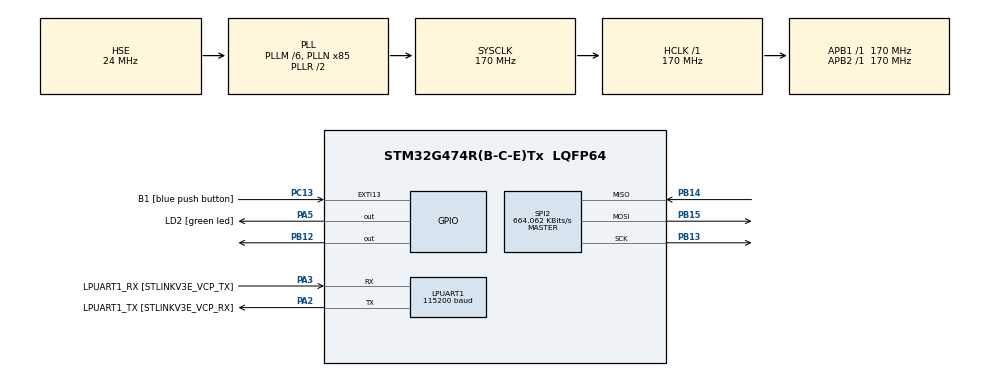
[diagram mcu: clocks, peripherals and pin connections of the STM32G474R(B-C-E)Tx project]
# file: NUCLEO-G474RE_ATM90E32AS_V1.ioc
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Dma.Request0=SPI2_RX
Dma.Request1=SPI2_TX
Dma.SPI2_RX.0.Direction=DMA_PERIPH_TO_MEMORY
Dma.SPI2_RX.0.EventEnable=DISABLE
Dma.SPI2_RX.0.Instance=DMA1_Channel1
Dma.SPI2_RX.0.MemDataAlignment=DMA_MDATAALIGN_BYTE
Dma.SPI2_RX.0.MemInc=DMA_MINC_ENABLE
Dma.SPI2_RX.0.Mode=DMA_NORMAL
Dma.SPI2_RX.0.PeriphDataAlignment=DMA_PDATAALIGN_BYTE
Dma.SPI2_RX.0.PeriphInc=DMA_PINC_DISABLE
Dma.SPI2_RX.0.Polarity=HAL_DMAMUX_REQ_GEN_RISING
Dma.SPI2_RX.0.Priority=DMA_PRIORITY_LOW
Dma.SPI2_RX.0.RequestNumber=1
Dma.SPI2_RX.0.SignalID=NONE
Dma.SPI2_RX.0.SyncEnable=DISABLE
Dma.SPI2_RX.0.SyncPolarity=HAL_DMAMUX_SYNC_NO_EVENT
Dma.SPI2_RX.0.SyncRequestNumber=1
Dma.SPI2_RX.0.SyncSignalID=NONE
Dma.SPI2_TX.1.Direction=DMA_MEMORY_TO_PERIPH
Dma.SPI2_TX.1.EventEnable=DISABLE
Dma.SPI2_TX.1.Instance=DMA1_Channel2
Dma.SPI2_TX.1.MemDataAlignment=DMA_MDATAALIGN_BYTE
Dma.SPI2_TX.1.MemInc=DMA_MINC_ENABLE
Dma.SPI2_TX.1.Mode=DMA_NORMAL
Dma.SPI2_TX.1.PeriphDataAlignment=DMA_PDATAALIGN_BYTE
Dma.SPI2_TX.1.PeriphInc=DMA_PINC_DISABLE
Dma.SPI2_TX.1.Polarity=HAL_DMAMUX_REQ_GEN_RISING
Dma.SPI2_TX.1.Priority=DMA_PRIORITY_LOW
Dma.SPI2_TX.1.RequestNumber=1
Dma.SPI2_TX.1.SignalID=NONE
Dma.SPI2_TX.1.SyncEnable=DISABLE
Dma.SPI2_TX.1.SyncPolarity=HAL_DMAMUX_SYNC_NO_EVENT
Dma.SPI2_TX.1.SyncRequestNumber=1
Dma.SPI2_TX.1.SyncSignalID=NONE
LPUART1.BaudRate=115200
LPUART1.WordLength=UART_WORDLENGTH_8B
Mcu.Family=STM32G4
Mcu.Name=STM32G474R(B-C-E)Tx
Mcu.Package=LQFP64
NVIC.DMA1_Channel1_IRQn=true\:0\:0\:false\:false\:true\:false\:true\:true
NVIC.DMA1_Channel2_IRQn=true\:0\:0\:false\:false\:true\:false\:true\:true
NVIC.EXTI15_10_IRQn=true\:0\:0\:false\:false\:true\:true\:true\:true
NVIC.PriorityGroup=NVIC_PRIORITYGROUP_4
PA13.GPIO_Label=T_SWDIO
PA13.Mode=Trace_Asynchronous_SW
PA13.Signal=SYS_JTMS-SWDIO
PA14.GPIO_Label=T_SWCLK
PA14.Mode=Trace_Asynchronous_SW
PA14.Signal=SYS_JTCK-SWCLK
PA2.GPIO_Label=LPUART1_TX [STLINKV3E_VCP_RX]
PA2.Mode=Asynchronous
PA2.Signal=LPUART1_TX
PA3.GPIO_Label=LPUART1_RX [STLINKV3E_VCP_TX]
PA3.Mode=Asynchronous
PA3.Signal=LPUART1_RX
PA5.GPIO_Label=LD2 [green led]
PA5.Signal=GPIO_Output
PB12.PinState=GPIO_PIN_SET
PB12.Signal=GPIO_Output
PB13.GPIO_PuPd=GPIO_PULLUP
PB13.Mode=Full_Duplex_Master
PB13.Signal=SPI2_SCK
PB14.GPIO_PuPd=GPIO_NOPULL
PB14.Mode=Full_Duplex_Master
PB14.Signal=SPI2_MISO
PB15.Mode=Full_Duplex_Master
PB15.Signal=SPI2_MOSI
PB3.GPIO_Label=T_SWO
PB3.Mode=Trace_Asynchronous_SW
PB3.Signal=SYS_JTDO-SWO
PC13.GPIO_Label=B1 [blue push button]
PC13.Signal=GPXTI13
PC14-OSC32_IN.Mode=LSE-External-Oscillator
PC14-OSC32_IN.Signal=RCC_OSC32_IN
PC15-OSC32_OUT.Mode=LSE-External-Oscillator
PC15-OSC32_OUT.Signal=RCC_OSC32_OUT
PF0-OSC_IN.Mode=HSE-External-Oscillator
PF0-OSC_IN.Signal=RCC_OSC_IN
PF1-OSC_OUT.Mode=HSE-External-Oscillator
PF1-OSC_OUT.Signal=RCC_OSC_OUT
ProjectManager.HeapSize=0x200
ProjectManager.StackSize=0x400
ProjectManager.TargetToolchain=STM32CubeIDE
RCC.ADC12Freq_Value=170000000
RCC.ADC345Freq_Value=170000000
RCC.AHBFreq_Value=170000000
RCC.APB1Freq_Value=170000000
RCC.APB1TimFreq_Value=170000000
RCC.APB2Freq_Value=170000000
RCC.APB2TimFreq_Value=170000000
RCC.CortexFreq_Value=170000000
RCC.EXTERNAL_CLOCK_VALUE=12288000
RCC.HCLKFreq_Value=170000000
RCC.HSE_VALUE=24000000
RCC.HSI48_VALUE=48000000
RCC.HSI_VALUE=16000000
RCC.PLLM=RCC_PLLM_DIV6
RCC.PLLN=85
RCC.PLLSourceVirtual=RCC_PLLSOURCE_HSE
RCC.RTCClockSelection=RCC_RTCCLKSOURCE_LSE
RCC.SYSCLKFreq_VALUE=170000000
RCC.SYSCLKSource=RCC_SYSCLKSOURCE_PLLCLK
RCC.USBFreq_Value=170000000
RCC.VCOOutputFreq_Value=340000000
SPI2.BaudRatePrescaler=SPI_BAUDRATEPRESCALER_256
SPI2.CLKPhase=SPI_PHASE_2EDGE
SPI2.CLKPolarity=SPI_POLARITY_HIGH
SPI2.CRCCalculation=SPI_CRCCALCULATION_DISABLE
SPI2.CalculateBaudRate=664.062 KBits/s
SPI2.DataSize=SPI_DATASIZE_8BIT
SPI2.Direction=SPI_DIRECTION_2LINES
SPI2.Mode=SPI_MODE_MASTER
SPI2.VirtualType=VM_MASTER
VP_SYS_VS_DBSignals.Mode=DisableDeadBatterySignals
board=NUCLEO-G474RE

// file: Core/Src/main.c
/* USER CODE BEGIN Header */
/**
 ******************************************************************************
 * @file           : main.c
 * @brief          : Main program body
 ******************************************************************************
 * @attention
 *
 * Copyright (c) 2024 STMicroelectronics.
 * All rights reserved.
 *
 * This software is licensed under terms that can be found in the LICENSE file
 * in the root directory of this software component.
 * If no LICENSE file comes with this software, it is provided AS-IS.
 *
 ******************************************************************************
 */
/* USER CODE END Header */
#include "main.h"

/* USER CODE BEGIN Includes */

#include <stdio.h>

/* USER CODE END Includes */

/* USER CODE BEGIN PD */

#define ATM90E3XA_read   0x80
#define ATM90E3XA_write  0x0

/* USER CODE END PD */

UART_HandleTypeDef hlpuart1;

SPI_HandleTypeDef hspi2;
DMA_HandleTypeDef hdma_spi2_rx;
DMA_HandleTypeDef hdma_spi2_tx;

/* USER CODE BEGIN PV */

uint8_t SPI_TXRX_stat;

/* USER CODE END PV */

void SystemClock_Config(void);
static void MX_GPIO_Init(void);
static void MX_DMA_Init(void);
static void MX_LPUART1_UART_Init(void);
static void MX_SPI2_Init(void);
/* USER CODE BEGIN PFP */

void VT_Print_Read_ATM90E3XA_address(uint16_t address);
void VT_Print_Write_ATM90E3XA_address(uint16_t address, uint16_t data);

/* USER CODE END PFP */

int main(void)
{

  /* MCU Configuration--------------------------------------------------------*/

  /* Reset of all peripherals, Initializes the Flash interface and the Systick. */
  HAL_Init();

  /* Configure the system clock */
  SystemClock_Config();

  /* Initialize all configured peripherals */
  MX_GPIO_Init();
  MX_DMA_Init();
  MX_LPUART1_UART_Init();
  MX_SPI2_Init();
  /* USER CODE BEGIN 2 */

	printf("================================================\n");
	printf("Starting >> NUCLEO-G474RE_ATM90E32AS_V1 \n");

	for(uint16_t address = 0x00; address < (0x2f + 1); address++)
		VT_Print_Read_ATM90E3XA_address(address);

	for(uint16_t address = 0x31; address < (0x3a + 1); address++)
		VT_Print_Read_ATM90E3XA_address(address);

	for(uint16_t address = 0x41; address < (0x4c + 1); address++)
		VT_Print_Read_ATM90E3XA_address(address);

	for(uint16_t address = 0x51; address < (0x56 + 1); address++)
		VT_Print_Read_ATM90E3XA_address(address);

	for(uint16_t address = 0x51; address < (0x6c + 1); address++)
		VT_Print_Read_ATM90E3XA_address(address);

	for(uint16_t address = 0x70; address < (0x7f + 1); address++)
		VT_Print_Read_ATM90E3XA_address(address);

	for(uint16_t address = 0x80; address < (0x93 + 1); address++)
		VT_Print_Read_ATM90E3XA_address(address);

	for(uint16_t address = 0xa0; address < (0xaf + 1); address++)
		VT_Print_Read_ATM90E3XA_address(address);

	for(uint16_t address = 0xb0; address < (0xcb + 1); address++)
		VT_Print_Read_ATM90E3XA_address(address);

	for(uint16_t address = 0xd0; address < (0xef + 1); address++)
		VT_Print_Read_ATM90E3XA_address(address);

	for(uint16_t address = 0xf1; address < (0xff + 1); address++)
		VT_Print_Read_ATM90E3XA_address(address);

	for(uint16_t address = 0x201; address < (0x209 + 1); address++)
		VT_Print_Read_ATM90E3XA_address(address);

	VT_Print_Read_ATM90E3XA_address(0x216);

	VT_Print_Read_ATM90E3XA_address(0x219);

	VT_Print_Read_ATM90E3XA_address(0x2ff);

	for(uint16_t address = 0xa; address < (0xd + 1); address++)
		VT_Print_Write_ATM90E3XA_address(address, 0x1111);

	for(uint16_t address = 8; address < (0xd + 1); address++)
		VT_Print_Read_ATM90E3XA_address(address);

	printf("Software Reset ATM90E32AS ......... \n");
	VT_Print_Write_ATM90E3XA_address(0x70, 0x789a);

	for(uint16_t address = 8; address < (0xd + 1); address++)
		VT_Print_Read_ATM90E3XA_address(address);

	printf("Ending   >> NUCLEO-G474RE_ATM90E32AS_V1 \n");

  /* USER CODE END 2 */

  /* Infinite loop */
  /* USER CODE BEGIN WHILE */
	while (1)
	{
		HAL_GPIO_TogglePin(GPIOA, GPIO_PIN_5);
		HAL_Delay(100);
    /* USER CODE END WHILE */

	}
}

void SystemClock_Config(void)
{
  RCC_OscInitTypeDef RCC_OscInitStruct = {0};
  RCC_ClkInitTypeDef RCC_ClkInitStruct = {0};

  /** Configure the main internal regulator output voltage
  */
  HAL_PWREx_ControlVoltageScaling(PWR_REGULATOR_VOLTAGE_SCALE1_BOOST);

  /** Initializes the RCC Oscillators according to the specified parameters
  * in the RCC_OscInitTypeDef structure.
  */
  RCC_OscInitStruct.OscillatorType = RCC_OSCILLATORTYPE_HSE;
  RCC_OscInitStruct.HSEState = RCC_HSE_ON;
  RCC_OscInitStruct.PLL.PLLState = RCC_PLL_ON;
  RCC_OscInitStruct.PLL.PLLSource = RCC_PLLSOURCE_HSE;
  RCC_OscInitStruct.PLL.PLLM = RCC_PLLM_DIV6;
  RCC_OscInitStruct.PLL.PLLN = 85;
  RCC_OscInitStruct.PLL.PLLP = RCC_PLLP_DIV2;
  RCC_OscInitStruct.PLL.PLLQ = RCC_PLLQ_DIV2;
  RCC_OscInitStruct.PLL.PLLR = RCC_PLLR_DIV2;
  if (HAL_RCC_OscConfig(&RCC_OscInitStruct) != HAL_OK)
  {
    Error_Handler();
  }

  /** Initializes the CPU, AHB and APB buses clocks
  */
  RCC_ClkInitStruct.ClockType = RCC_CLOCKTYPE_HCLK|RCC_CLOCKTYPE_SYSCLK
                              |RCC_CLOCKTYPE_PCLK1|RCC_CLOCKTYPE_PCLK2;
  RCC_ClkInitStruct.SYSCLKSource = RCC_SYSCLKSOURCE_PLLCLK;
  RCC_ClkInitStruct.AHBCLKDivider = RCC_SYSCLK_DIV1;
  RCC_ClkInitStruct.APB1CLKDivider = RCC_HCLK_DIV1;
  RCC_ClkInitStruct.APB2CLKDivider = RCC_HCLK_DIV1;

  if (HAL_RCC_ClockConfig(&RCC_ClkInitStruct, FLASH_LATENCY_4) != HAL_OK)
  {
    Error_Handler();
  }
}

static void MX_LPUART1_UART_Init(void)
{

  hlpuart1.Instance = LPUART1;
  hlpuart1.Init.BaudRate = 115200;
  hlpuart1.Init.WordLength = UART_WORDLENGTH_8B;
  hlpuart1.Init.StopBits = UART_STOPBITS_1;
  hlpuart1.Init.Parity = UART_PARITY_NONE;
  hlpuart1.Init.Mode = UART_MODE_TX_RX;
  hlpuart1.Init.HwFlowCtl = UART_HWCONTROL_NONE;
  hlpuart1.Init.OneBitSampling = UART_ONE_BIT_SAMPLE_DISABLE;
  hlpuart1.Init.ClockPrescaler = UART_PRESCALER_DIV1;
  hlpuart1.AdvancedInit.AdvFeatureInit = UART_ADVFEATURE_NO_INIT;
  if (HAL_UART_Init(&hlpuart1) != HAL_OK)
  {
    Error_Handler();
  }
  if (HAL_UARTEx_SetTxFifoThreshold(&hlpuart1, UART_TXFIFO_THRESHOLD_1_8) != HAL_OK)
  {
    Error_Handler();
  }
  if (HAL_UARTEx_SetRxFifoThreshold(&hlpuart1, UART_RXFIFO_THRESHOLD_1_8) != HAL_OK)
  {
    Error_Handler();
  }
  if (HAL_UARTEx_DisableFifoMode(&hlpuart1) != HAL_OK)
  {
    Error_Handler();
  }

}

static void MX_SPI2_Init(void)
{

  /* SPI2 parameter configuration*/
  hspi2.Instance = SPI2;
  hspi2.Init.Mode = SPI_MODE_MASTER;
  hspi2.Init.Direction = SPI_DIRECTION_2LINES;
  hspi2.Init.DataSize = SPI_DATASIZE_8BIT;
  hspi2.Init.CLKPolarity = SPI_POLARITY_HIGH;
  hspi2.Init.CLKPhase = SPI_PHASE_2EDGE;
  hspi2.Init.NSS = SPI_NSS_SOFT;
  hspi2.Init.BaudRatePrescaler = SPI_BAUDRATEPRESCALER_256;
  hspi2.Init.FirstBit = SPI_FIRSTBIT_MSB;
  hspi2.Init.TIMode = SPI_TIMODE_DISABLE;
  hspi2.Init.CRCCalculation = SPI_CRCCALCULATION_DISABLE;
  hspi2.Init.CRCPolynomial = 7;
  hspi2.Init.CRCLength = SPI_CRC_LENGTH_DATASIZE;
  hspi2.Init.NSSPMode = SPI_NSS_PULSE_DISABLE;
  if (HAL_SPI_Init(&hspi2) != HAL_OK)
  {
    Error_Handler();
  }

}

static void MX_DMA_Init(void)
{

  /* DMA controller clock enable */
  __HAL_RCC_DMAMUX1_CLK_ENABLE();
  __HAL_RCC_DMA1_CLK_ENABLE();

  /* DMA interrupt init */
  /* DMA1_Channel1_IRQn interrupt configuration */
  HAL_NVIC_SetPriority(DMA1_Channel1_IRQn, 0, 0);
  HAL_NVIC_EnableIRQ(DMA1_Channel1_IRQn);
  /* DMA1_Channel2_IRQn interrupt configuration */
  HAL_NVIC_SetPriority(DMA1_Channel2_IRQn, 0, 0);
  HAL_NVIC_EnableIRQ(DMA1_Channel2_IRQn);

}

static void MX_GPIO_Init(void)
{
  GPIO_InitTypeDef GPIO_InitStruct = {0};

  /* GPIO Ports Clock Enable */
  __HAL_RCC_GPIOC_CLK_ENABLE();
  __HAL_RCC_GPIOF_CLK_ENABLE();
  __HAL_RCC_GPIOA_CLK_ENABLE();
  __HAL_RCC_GPIOB_CLK_ENABLE();

  /*Configure GPIO pin Output Level */
  HAL_GPIO_WritePin(LD2_GPIO_Port, LD2_Pin, GPIO_PIN_RESET);

  /*Configure GPIO pin Output Level */
  HAL_GPIO_WritePin(GPIOB, GPIO_PIN_12, GPIO_PIN_SET);

  /*Configure GPIO pin : B1_Pin */
  GPIO_InitStruct.Pin = B1_Pin;
  GPIO_InitStruct.Mode = GPIO_MODE_IT_RISING;
  GPIO_InitStruct.Pull = GPIO_NOPULL;
  HAL_GPIO_Init(B1_GPIO_Port, &GPIO_InitStruct);

  /*Configure GPIO pin : LD2_Pin */
  GPIO_InitStruct.Pin = LD2_Pin;
  GPIO_InitStruct.Mode = GPIO_MODE_OUTPUT_PP;
  GPIO_InitStruct.Pull = GPIO_NOPULL;
  GPIO_InitStruct.Speed = GPIO_SPEED_FREQ_LOW;
  HAL_GPIO_Init(LD2_GPIO_Port, &GPIO_InitStruct);

  /*Configure GPIO pin : PB12 */
  GPIO_InitStruct.Pin = GPIO_PIN_12;
  GPIO_InitStruct.Mode = GPIO_MODE_OUTPUT_PP;
  GPIO_InitStruct.Pull = GPIO_NOPULL;
  GPIO_InitStruct.Speed = GPIO_SPEED_FREQ_LOW;
  HAL_GPIO_Init(GPIOB, &GPIO_InitStruct);

  /* EXTI interrupt init*/
  HAL_NVIC_SetPriority(EXTI15_10_IRQn, 0, 0);
  HAL_NVIC_EnableIRQ(EXTI15_10_IRQn);

}

/* USER CODE BEGIN 4 */

void VT_Print_Read_ATM90E3XA_address(uint16_t address)
{
	SPI_TXRX_stat = 0;
	uint8_t ATM90E3XA_TX[4] = {0,0,0,0}, ATM90E3XA_RX[4] = {0,0,0,0};

	ATM90E3XA_TX[0] = ATM90E3XA_read + (uint8_t) (address >> 8);
	ATM90E3XA_TX[1] = (uint8_t) address;

	HAL_GPIO_WritePin(GPIOB, GPIO_PIN_12, RESET);
	switch (HAL_SPI_TransmitReceive_DMA(&hspi2, ATM90E3XA_TX, ATM90E3XA_RX, 4))
	{
	case HAL_OK: 	  /* Communication is completed ___________________________________________ */
		break;
	case HAL_TIMEOUT: /* An Error Occur ______________________________________________________ */
		printf("SPI HAL_TIMEOUT \n");
	case HAL_ERROR:   /* Call Timeout Handler */
		printf("SPI HAL_ERROR \n");
		Error_Handler();
		break;
	default:
		break;
	}

	while(!SPI_TXRX_stat){}
	HAL_GPIO_WritePin(GPIOB, GPIO_PIN_12, SET);
	printf("Read  Address %X%02Xh = %02X%02Xh \n", (ATM90E3XA_TX[0] & 0x7f), ATM90E3XA_TX[1],ATM90E3XA_RX[2],ATM90E3XA_RX[3]);

}

void VT_Print_Write_ATM90E3XA_address(uint16_t address, uint16_t data)
{
	SPI_TXRX_stat = 0;
	uint8_t ATM90E3XA_TX[4] = {0,0,0,0}, ATM90E3XA_RX[4] = {0,0,0,0};

	ATM90E3XA_TX[0] = (uint8_t) (address >> 8);
	ATM90E3XA_TX[1] = (uint8_t) address;
	ATM90E3XA_TX[2] = (uint8_t) (data >> 8);
	ATM90E3XA_TX[3] = (uint8_t) data;

	HAL_GPIO_WritePin(GPIOB, GPIO_PIN_12, RESET);
	switch (HAL_SPI_TransmitReceive_DMA(&hspi2, ATM90E3XA_TX, ATM90E3XA_RX, 4))
	{
	case HAL_OK: 	  /* Communication is completed ___________________________________________ */
		break;
	case HAL_TIMEOUT: /* An Error Occur ______________________________________________________ */
		printf("SPI HAL_TIMEOUT \n");
	case HAL_ERROR:   /* Call Timeout Handler */
		printf("SPI HAL_ERROR \n");
		Error_Handler();
		break;
	default:
		break;
	}

	while(!SPI_TXRX_stat){}
	HAL_GPIO_WritePin(GPIOB, GPIO_PIN_12, SET);
	printf("Write Address %X%02Xh = %02X%02Xh \n", (ATM90E3XA_TX[0]), ATM90E3XA_TX[1],ATM90E3XA_TX[2],ATM90E3XA_TX[3]);

}

void HAL_SPI_TxRxCpltCallback(SPI_HandleTypeDef *hspi)
{
	/* Prevent unused argument(s) compilation warning */
	UNUSED(hspi);

	/* NOTE : This function should not be modified, when the callback is needed,
            the HAL_SPI_RxCpltCallback should be implemented in the user file
	 */

	//	for(int cntr = 0; cntr < num_data; cntr++)
	//	{
	//		printf("ADT7310_RX [%x] = %x \n", cntr, ADT7310_RX[cntr]);
	//	}

	SPI_TXRX_stat = 1;

}

/* USER CODE END 4 */

void Error_Handler(void)
{
  /* USER CODE BEGIN Error_Handler_Debug */
	/* User can add his own implementation to report the HAL error return state */
	printf("Error_Handler \n");
	HAL_GPIO_WritePin(GPIOA, GPIO_PIN_5, SET);
	__disable_irq();
	while (1)
	{
	}
  /* USER CODE END Error_Handler_Debug */
}
